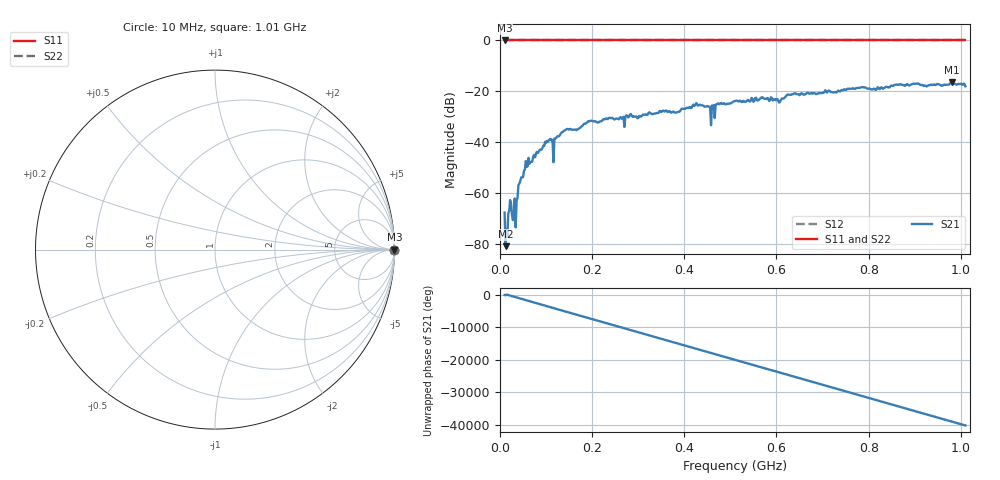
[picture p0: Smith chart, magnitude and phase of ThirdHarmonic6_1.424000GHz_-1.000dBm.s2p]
! 8/16/2025 4:23:33 PM
! C:\ANRITSUVNA\TEMP\TEMP.S2P
! CHANNEL.1
! TR.MEASUREMENT
! RAW.DATA
! RF.CORRECTION.OFF
! AVERAGING.OFF
! IF.BANDWIDTH: 5KHZ
! SWEEPTYPE:  FREQ.SWEEP(Linear)
! Reference Plane Port Info
! PORT:  PORT1  PORT2
! DISTANCE:  0  m  0  m
! TIME:  0  s  0  s
! PHASE.OFFSET:  0  deg.  0  deg.
! LOSS:  0  dB  0  dB
! REF.LOSS:  0  dB  0  dB
! REF.FREQ:  0  Hz  0  Hz
! Power Info
! POWER:  -20  dBm  -20  dBm
! EFF.POWER:  -20  dBm  -20  dBm
! SOURCE.ATTEN:  0  dB  0  dB
! TEST.ATTEN:  0  dB  0  dB
# GHZ S RI R 50.0
! FREQ.GHZ  S11RE  S11IM  S21RE  S21IM  S12RE  S12IM  S22RE  S22IM
!; PortSelection: Port_12
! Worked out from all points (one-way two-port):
!   501 points, 10 MHz to 1.01 GHz, reference 50 ohm
!   highest |S21| = -16.54 dB at 980 MHz (marker M1); lowest = -81.0 dB at 12 MHz (marker M2)
!   lowest |S11| = 0.0 dB at 10 MHz (marker M3)
!   |S11| at or under -10 dB: nowhere
!   |S22| runs from 0.0 to 0.0 dB; largest |S21 - S12| = 1.1
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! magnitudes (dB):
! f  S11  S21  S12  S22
! 10 MHz  0.0  -67.8  0.0  0.0
! 12 MHz  0.0  -81.0  0.0  0.0
! 16 MHz  0.0  -77.0  0.0  0.0
! 22 MHz  0.0  -62.9  0.0  0.0
! 30 MHz  0.0  -68.4  0.0  0.0
! 44 MHz  0.0  -55.4  0.0  0.0
! 58 MHz  0.0  -49.7  0.0  0.0
! 106 MHz  0.0  -39.3  0.0  0.0
! 116 MHz  0.0  -48.0  0.0  0.0
! 142 MHz  0.0  -35.3  0.0  0.0
! 178 MHz  0.0  -33.7  0.0  0.0
! 344 MHz  0.0  -28.5  0.0  0.0
! 424 MHz  0.0  -25.4  0.0  0.0
! 462 MHz  0.0  -25.9  0.0  0.0
! 472 MHz  0.0  -24.9  0.0  0.0
! 510 MHz  0.0  -23.9  0.0  0.0
! 606 MHz  0.0  -24.5  0.0  0.0
! 626 MHz  0.0  -21.4  0.0  0.0
! 678 MHz  0.0  -21.0  0.0  0.0
! 844 MHz  0.0  -18.5  0.0  0.0
! 980 MHz  0.0  -16.5  0.0  0.0
! 1.01 GHz  0.0  -18.1  0.0  0.0
